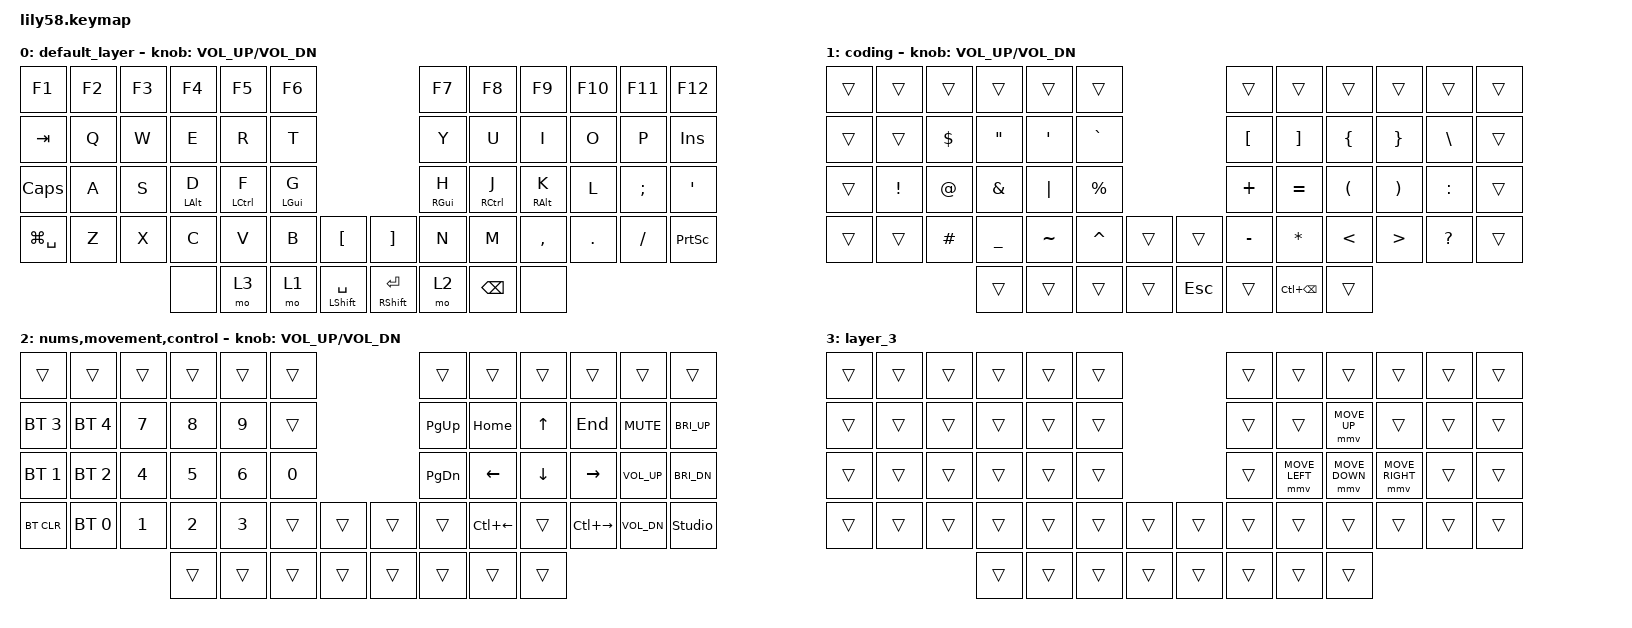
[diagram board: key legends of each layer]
/*
 * Copyright (c) 2020 The ZMK Contributors
 *
 * SPDX-License-Identifier: MIT
 */

#include <behaviors.dtsi>
#include <dt-bindings/zmk/bt.h>
#include <dt-bindings/zmk/keys.h>
#include <dt-bindings/zmk/pointing.h>

/ {
    keymap {
        compatible = "zmk,keymap";

        default_layer {
            // ------------------------------------------------------------------------------------------------------------
            // |  ESC  |  1  |  2  |  3   |  4   |  5   |                   |  6   |  7    |  8    |  9   |   0   |   `   |
            // |  TAB  |  Q  |  W  |  E   |  R   |  T   |                   |  Y   |  U    |  I    |  O   |   P   |   -   |
            // |  CTRL |  A  |  S  |  D   |  F   |  G   |                   |  H   |  J    |  K    |  L   |   ;   |   '   |
            // | SHIFT |  Z  |  X  |  C   |  V   |  B   |   "["  |  |  "]"  |  N   |  M    |  ,    |  .   |   /   | SHIFT |
            //                     | ALT  | GUI  | LOWER|  SPACE |  | ENTER | RAISE| BSPC  | GUI   |

            bindings = <
&kp F1         &kp F2  &kp F3  &kp F4      &kp F5       &kp F6                                           &kp F7      &kp F8       &kp F9      &kp F10  &kp F11   &kp F12
&kp TAB        &kp Q   &kp W   &kp E       &kp R        &kp T                                            &kp Y       &kp U        &kp I       &kp O    &kp P     &kp INS
&kp CAPSLOCK   &kp A   &kp S   &mt LALT D  &mt LCTRL F  &mt LGUI G                                       &mt RGUI H  &mt RCTRL J  &mt RALT K  &kp L    &kp SEMI  &kp SQT
&kp LG(SPACE)  &kp Z   &kp X   &kp C       &kp V        &kp B       &kp LBKT            &kp RBKT         &kp N       &kp M        &kp COMMA   &kp DOT  &kp FSLH  &kp PRINTSCREEN
                               &none       &mo 3        &mo 1       &mt LSHIFT SPACE    &mt RSHFT ENTER  &mo 2       &kp BSPC     &none
            >;

            sensor-bindings = <&inc_dec_kp C_VOL_UP C_VOL_DN>;
        };

        coding {
            // --------------------------------------------------------------------------------------------------------------
            // | LPAD  | BRDn | BRUp |  MUT |  Vo- |  Vo+ |                   |      |       |       |      |       |       |
            // |  F1   |  F2  |  F3  |  F4  |  F5  |  F6  |                   |  F7  |  F8   |  F9   |  F10 |  F11  |  F12  |
            // |   `   |  !   |  @   |  #   |  $   |  %   |                   |  ^   |  &    |  *    |  (   |   )   |   ~   |
            // |       |      |      |      |      |      |        |  |       |      |  _    |  +    |  {   |   }   |  "|"  |
            //                       |      |      |      |        |  |       |      |       |       |

            bindings = <
&trans  &trans    &trans       &trans             &trans            &trans                           &trans            &trans             &trans                &trans                 &trans         &trans
&trans  &trans    &kp DOLLAR   &kp DOUBLE_QUOTES  &kp SINGLE_QUOTE  &kp GRAVE                        &kp LEFT_BRACKET  &kp RIGHT_BRACKET  &kp LEFT_BRACE        &kp RIGHT_BRACE        &kp BACKSLASH  &trans
&trans  &kp EXCL  &kp AT_SIGN  &kp AMPERSAND      &kp PIPE          &kp PRCNT                        &kp PLUS          &kp EQUAL          &kp LEFT_PARENTHESIS  &kp RIGHT_PARENTHESIS  &kp COLON      &trans
&trans  &trans    &kp POUND    &kp UNDERSCORE     &kp TILDE         &kp CARET  &trans    &trans      &kp MINUS         &kp ASTERISK       &kp LESS_THAN         &kp GREATER_THAN       &kp QUESTION   &trans
                               &trans             &trans            &trans     &trans    &kp ESCAPE  &trans            &kp LC(BACKSPACE)  &trans
            >;

            sensor-bindings = <&inc_dec_kp C_VOL_UP C_VOL_DN>;
        };

        nums,movement,control {
            // ------------------------------------------------------------------------------------------------------------
            // |       |     |     |      |      |      |                   |      |       |       |      |       |       |
            // |   `   |  1  |  2  |  3   |  4   |  5   |                   |  6   |   7   |   8   |  9   |   0   |       |
            // |   F1  |  F2 |  F3 |  F4  |  F5  |  F6  |                   |      |   <-  |   v   |  ^   |  ->   |       |
            // |   F7  |  F8 |  F9 |  F10 |  F11 |  F12 |        |  |       |  +   |   -   |   =   |  [   |   ]   |   \   |
            //                     |      |      |      |        |  |       |      |       |       |

            bindings = <
&trans        &trans        &trans  &trans  &trans  &trans                    &trans         &trans        &trans    &trans         &trans        &trans
&bt BT_SEL 3  &bt BT_SEL 4  &kp N7  &kp N8  &kp N9  &trans                    &kp PAGE_UP    &kp HOME      &kp UP    &kp END        &kp C_MUTE    &kp C_BRI_UP
&bt BT_SEL 1  &bt BT_SEL 2  &kp N4  &kp N5  &kp N6  &kp N0                    &kp PAGE_DOWN  &kp LEFT      &kp DOWN  &kp RIGHT      &kp C_VOL_UP  &kp C_BRI_DN
&bt BT_CLR    &bt BT_SEL 0  &kp N1  &kp N2  &kp N3  &trans  &trans    &trans  &trans         &kp LC(LEFT)  &trans    &kp LC(RIGHT)  &kp C_VOL_DN  &studio_unlock
                                    &trans  &trans  &trans  &trans    &trans  &trans         &trans        &trans
            >;

            sensor-bindings = <&inc_dec_kp C_VOL_UP C_VOL_DN>;
        };

        layer_3 {
            bindings = <
&trans  &trans  &trans  &trans  &trans  &trans                    &trans  &trans          &trans          &trans           &trans  &trans
&trans  &trans  &trans  &trans  &trans  &trans                    &trans  &trans          &mmv MOVE_UP    &trans           &trans  &trans
&trans  &trans  &trans  &trans  &trans  &trans                    &trans  &mmv MOVE_LEFT  &mmv MOVE_DOWN  &mmv MOVE_RIGHT  &trans  &trans
&trans  &trans  &trans  &trans  &trans  &trans  &trans    &trans  &trans  &trans          &trans          &trans           &trans  &trans
                        &trans  &trans  &trans  &trans    &trans  &trans  &trans          &trans
            >;
        };
    };
};
